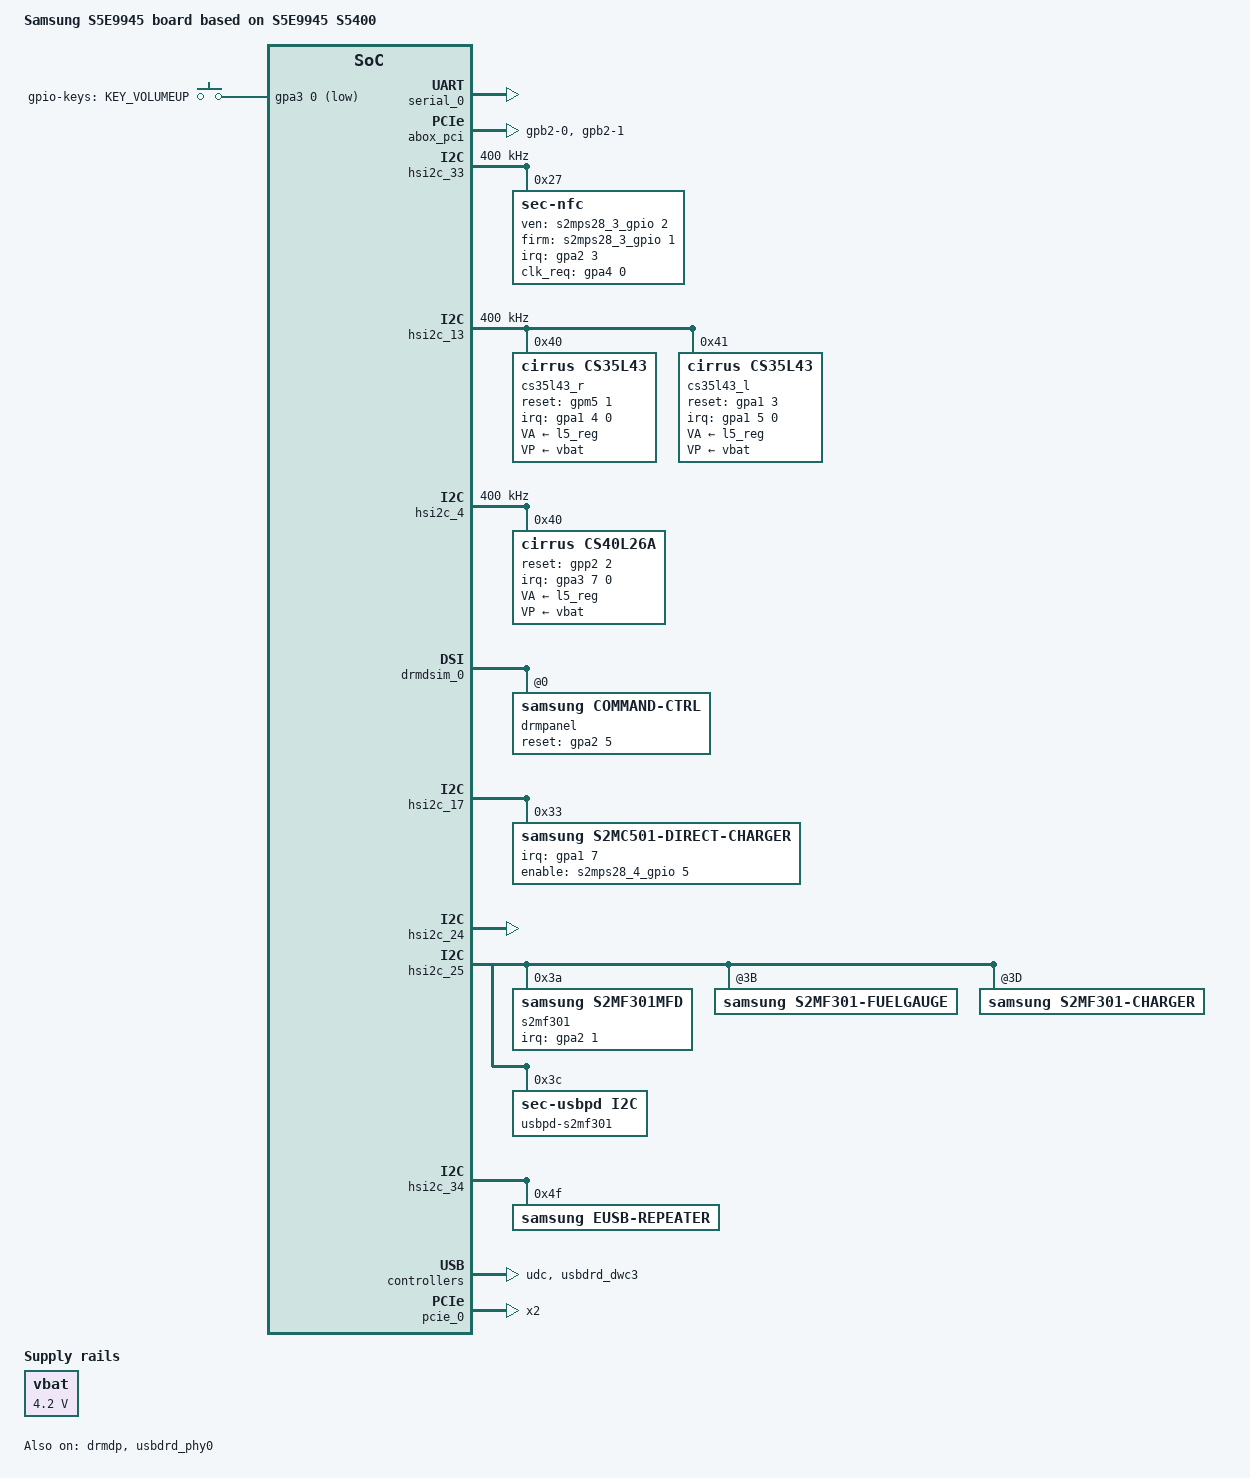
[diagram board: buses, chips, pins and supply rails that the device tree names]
/*
 * SAMSUNG S5E9945 SoC device tree source
 *
 * Copyright (c) 2023 Samsung Electronics Co., Ltd.
 *             http://www.samsung.com
 *
 * SAMSUNG S5E9945 SoC device nodes are listed in this file.
 * EXYNOS based board files can include this file and provide
 * values for board specfic bindings.
 *
 * This program is free software; you can redistribute it and/or modify
 * it under the terms of the GNU General Public License version 2 as
 * published by the Free Software Foundation.
 */

/dts-v1/;
/plugin/;
//#include <dt-bindings/clock/s5e9945.h>
#include <dt-bindings/interrupt-controller/s5e9945.h>
#include <dt-bindings/gpio/gpio.h>
#include "battery_data_erd9945_common_s2mf301.dtsi"
#include <dt-bindings/pci/pci.h>
#include "camera/s5e9945-erd9945-camera.dtsi"
#include "erd9945-pmic.dtsi"
#include "erd9945-etc-pmic.dtsi"
#include "s5e9945-erd9945-cp-s5400-sit.dtsi"
#include "s5e9945-erd9945-gnss-s5400.dtsi"

#define BOARD_ID	0x0

/ {
	compatible = "samsung,armv9", "samsung,s5e9945";
	board_id = <BOARD_ID>;
	board_rev = <0x0>;

	fragment@model {
		target-path = "/";
		__overlay__ {
			#address-cells = <2>;
			#size-cells = <1>;

			model = "Samsung S5E9945 board based on S5E9945 S5400";

			gpio_keys {
				status = "okay";
				compatible = "gpio-keys";
				pinctrl-names = "default";
				pinctrl-0 = <&key_volup>;

				button@3 {
					label = "gpio-keys: KEY_VOLUMEUP";
					linux,code = <115>;
					gpios = <&gpa3 0 0xf>;
				};
			};

			vbat: vbat {
				compatible = "regulator-fixed";
				regulator-name = "VBAT";
				regulator-min-microvolt = <4200000>;
				regulator-max-microvolt = <4200000>;
				regulator-boot-on;
			};

			dummy_audio_codec: audio-codec-dummy {
				compatible = "snd-soc-dummy";
				#sound-dai-cells = <0>;
			};

			dummy_audio_cpu: audio-cpu-dummy {
				compatible = "samsung,dummy-cpu";
				#sound-dai-cells = <0>;
			};

			sound {
				compatible = "samsung,exynos-sound";

				/* clock-names = "xclkout"; */
				/* clocks = <&clock OSC_AUD>; */

				MICBIAS1-supply = <&l7_reg>;
				MICBIAS2-supply = <&l7_reg>;
				MICBIAS3-supply = <&l7_reg>;

				/* Trick for probe order */
				dmas = <&dp_dma0>;

				samsung,routing =
					"DMIC1", "MICBIAS1",
					"DMIC2", "MICBIAS2",
					"DMIC3", "MICBIAS3",
					"RECEIVER", "Left SPK",
					"SPEAKER", "Right SPK",
					"VOUTPUT", "ABOX UAIF1 Playback",
					"ABOX UAIF1 Capture", "VINPUT1",
					"BLUETOOTH SPK", "ABOX UAIF2 Playback",
					"ABOX UAIF2 Capture", "BLUETOOTH MIC",
					"USB SPK", "ABOX USB Playback",
					"ABOX USB Capture", "USB MIC",
					"FWD SPK", "ABOX FWD Playback",
					"ABOX FWD Capture", "FWD MIC",
					"VTS Virtual Output", "VTS Virtual Output Mux",
					"PAD DPDM", "DMIC1",
					"PAD DPDM", "DMIC2",
					"PAD DPDM", "DMIC3",
					"PAD DPDM", "DMIC4";

				samsung,codec = <&cs35l43_l &cs35l43_r>;
				samsung,prefix = "Left", "Right";
				samsung,aux = <&abox_effect &abox_tplg>;

				rdma0 {
					cpu {
						sound-dai = <&abox_rdma_0 0>;
					};
					platform {
						sound-dai = <&abox_rdma_0 0>;
					};
				};
				rdma1 {
					cpu {
						sound-dai = <&abox_rdma_1 0>;
					};
					platform {
						sound-dai = <&abox_rdma_1 0>;
					};
				};
				rdma2 {
					cpu {
						sound-dai = <&abox_rdma_2 0>;
					};
					platform {
						sound-dai = <&abox_rdma_2 0>;
					};
				};
				rdma3 {
					cpu {
						sound-dai = <&abox_rdma_3 0>;
					};
					platform {
						sound-dai = <&abox_rdma_3 0>;
					};
				};
				rdma4 {
					cpu {
						sound-dai = <&abox_rdma_4 0>;
					};
					platform {
						sound-dai = <&abox_rdma_4 0>;
					};
				};
				rdma5 {
					cpu {
						sound-dai = <&abox_rdma_5 0>;
					};
					platform {
						sound-dai = <&abox_rdma_5 0>;
					};
				};
				rdma6 {
					cpu {
						sound-dai = <&abox_rdma_6 0>;
					};
					platform {
						sound-dai = <&abox_rdma_6 0>;
					};
				};
				rdma7 {
					cpu {
						sound-dai = <&abox_rdma_7 0>;
					};
					platform {
						sound-dai = <&abox_rdma_7 0>;
					};
				};
				rdma8 {
					cpu {
						sound-dai = <&abox_rdma_8 0>;
					};
					platform {
						sound-dai = <&abox_rdma_8 0>;
					};
				};
				rdma9 {
					cpu {
						sound-dai = <&abox_rdma_9 0>;
					};
					platform {
						sound-dai = <&abox_rdma_9 0>;
					};
				};
				rdma10 {
					cpu {
						sound-dai = <&abox_rdma_10 0>;
					};
					platform {
						sound-dai = <&abox_rdma_10 0>;
					};
				};
				rdma11 {
					cpu {
						sound-dai = <&abox_rdma_11 0>;
					};
					platform {
						sound-dai = <&abox_rdma_11 0>;
					};
				};
				rdma12 {
					cpu {
						sound-dai = <&abox_rdma_12 0>;
					};
					platform {
						sound-dai = <&abox_rdma_12 0>;
					};
				};
				rdma13 {
					cpu {
						sound-dai = <&abox_rdma_13 0>;
					};
					platform {
						sound-dai = <&abox_rdma_13 0>;
					};
				};
				rdma14 {
					cpu {
						sound-dai = <&abox_rdma_14 0>;
					};
					platform {
						sound-dai = <&abox_rdma_14 0>;
					};
				};
				rdma15 {
					cpu {
						sound-dai = <&abox_rdma_15 0>;
					};
					platform {
						sound-dai = <&abox_rdma_15 0>;
					};
				};
				wdma0 {
					cpu {
						sound-dai = <&abox_wdma_0 0>;
					};
					platform {
						sound-dai = <&abox_wdma_0 0>;
					};
				};
				wdma1 {
					cpu {
						sound-dai = <&abox_wdma_1 0>;
					};
					platform {
						sound-dai = <&abox_wdma_1 0>;
					};
				};
				wdma2 {
					cpu {
						sound-dai = <&abox_wdma_2 0>;
					};
					platform {
						sound-dai = <&abox_wdma_2 0>;
					};
				};
				wdma3 {
					cpu {
						sound-dai = <&abox_wdma_3 0>;
					};
					platform {
						sound-dai = <&abox_wdma_3 0>;
					};
				};
				wdma4 {
					cpu {
						sound-dai = <&abox_wdma_4 0>;
					};
					platform {
						sound-dai = <&abox_wdma_4 0>;
					};
				};
				wdma5 {
					cpu {
						sound-dai = <&abox_wdma_5 0>;
					};
					platform {
						sound-dai = <&abox_wdma_5 0>;
					};
				};
				wdma6 {
					cpu {
						sound-dai = <&abox_wdma_6 0>;
					};
					platform {
						sound-dai = <&abox_wdma_6 0>;
					};
				};
				wdma7 {
					cpu {
						sound-dai = <&abox_wdma_7 0>;
					};
					platform {
						sound-dai = <&abox_wdma_7 0>;
					};
				};
				wdma8 {
					cpu {
						sound-dai = <&abox_wdma_8 0>;
					};
					platform {
						sound-dai = <&abox_wdma_8 0>;
					};
				};
				wdma9 {
					cpu {
						sound-dai = <&abox_wdma_9 0>;
					};
					platform {
						sound-dai = <&abox_wdma_9 0>;
					};
				};
				wdma10 {
					cpu {
						sound-dai = <&abox_wdma_10 0>;
					};
					platform {
						sound-dai = <&abox_wdma_10 0>;
					};
				};
				wdma11 {
					cpu {
						sound-dai = <&abox_wdma_11 0>;
					};
					platform {
						sound-dai = <&abox_wdma_11 0>;
					};
				};
				vts0 {
					cpu {
						sound-dai = <&vts 0>;
					};
					platform {
						sound-dai = <&vts_dma0>;
					};
				};
				vts1 {
					cpu {
						sound-dai = <&vts 1>;
					};
					platform {
						sound-dai = <&vts_dma1>;
					};
				};
				vts2 {
					cpu {
						sound-dai = <&vts 2>;
					};
					platform {
						sound-dai = <&vts_dma2>;
					};
				};
				dp0_audio {
					cpu {
						sound-dai = <&displayport_adma 0>;
					};
					platform {
						sound-dai = <&dp_dma0>;
					};
				};

				dual0 {
					cpu {
						sound-dai = <&abox_dual_0>;
					};
					platform {
						sound-dai = <&abox_dual_0>;
					};
				};
				dual1 {
					cpu {
						sound-dai = <&abox_dual_1>;
					};
					platform {
						sound-dai = <&abox_dual_1>;
					};
				};
				dual2 {
					cpu {
						sound-dai = <&abox_dual_2>;
					};
					platform {
						sound-dai = <&abox_dual_2>;
					};
				};
				dual3 {
					cpu {
						sound-dai = <&abox_dual_3>;
					};
					platform {
						sound-dai = <&abox_dual_3>;
					};
				};
				dual4 {
					cpu {
						sound-dai = <&abox_dual_4>;
					};
					platform {
						sound-dai = <&abox_dual_4>;
					};
				};
				dual5 {
					cpu {
						sound-dai = <&abox_dual_5>;
					};
					platform {
						sound-dai = <&abox_dual_5>;
					};
				};
				dual6 {
					cpu {
						sound-dai = <&abox_dual_6>;
					};
					platform {
						sound-dai = <&abox_dual_6>;
					};
				};
				dual7 {
					cpu {
						sound-dai = <&abox_dual_7>;
					};
					platform {
						sound-dai = <&abox_dual_7>;
					};
				};
				dual8 {
					cpu {
						sound-dai = <&abox_dual_8>;
					};
					platform {
						sound-dai = <&abox_dual_8>;
					};
				};
				dual9 {
					cpu {
						sound-dai = <&abox_dual_9>;
					};
					platform {
						sound-dai = <&abox_dual_9>;
					};
				};
				dual10 {
					cpu {
						sound-dai = <&abox_dual_10>;
					};
					platform {
						sound-dai = <&abox_dual_10>;
					};
				};
				dual11 {
					cpu {
						sound-dai = <&abox_dual_11>;
					};
					platform {
						sound-dai = <&abox_dual_11>;
					};
				};
				ddma0 {
					cpu {
						sound-dai = <&abox_ddma_0>;
					};
					platform {
						sound-dai = <&abox_ddma_0>;
					};
				};
				ddma1 {
					cpu {
						sound-dai = <&abox_ddma_1>;
					};
					platform {
						sound-dai = <&abox_ddma_1>;
					};
				};
				ddma2 {
					cpu {
						sound-dai = <&abox_ddma_2>;
					};
					platform {
						sound-dai = <&abox_ddma_2>;
					};
				};
				ddma3 {
					cpu {
						sound-dai = <&abox_ddma_3>;
					};
					platform {
						sound-dai = <&abox_ddma_3>;
					};
				};
				ddma4 {
					cpu {
						sound-dai = <&abox_ddma_4>;
					};
					platform {
						sound-dai = <&abox_ddma_4>;
					};
				};
				ddma5 {
					cpu {
						sound-dai = <&abox_ddma_5>;
					};
					platform {
						sound-dai = <&abox_ddma_5>;
					};
				};
				uaif0 {
					format = "i2s";
					cpu {
						sound-dai = <&abox_uaif_0>;
					};
					codec {
						sound-dai = <&cs40l26a 0>;
					};
				};
				uaif1 {
					format = "i2s";
					cpu {
						sound-dai = <&abox_uaif_1>;
					};
				};
				uaif2 {
					format = "i2s";
					cpu {
						sound-dai = <&abox_uaif_2>;
					};
				};
				uaif3 {
					format = "dsp_a";
					cpu {
						sound-dai = <&abox_uaif_3>;
					};
					codec {
						sound-dai = <&cs35l43_l 0 &cs35l43_r 0>;
					};
				};
				uaif4 {
					format = "dsp_a";
					cpu {
						sound-dai = <&abox_uaif_4>;
					};
				};
				uaif5 {
					format = "dsp_a";
					cpu {
						sound-dai = <&abox_uaif_5>;
					};
				};
				uaif6 {
					format = "dsp_a";
					bitclock-master;
					bitclock-inversion;
					frame-master;

					cpu {
						sound-dai = <&abox_uaif_6>;
					};
					codec {
						sound-dai = <&vts_s_lif 0>;
					};
				};
				dsif0 {
					format = "pdm";
					cpu {
						sound-dai = <&abox_dsif>;
					};
				};
				udma_rd0 {
					cpu {
						sound-dai = <&abox_udma_rd_0>;
					};
				};
				udma_wr0 {
					cpu {
						sound-dai = <&abox_udma_wr_0>;
					};
				};
				udma_wr_dual0 {
					cpu {
						sound-dai = <&abox_udma_wr_dual_0>;
					};
				};
				udma_wr_dbg0 {
					cpu {
						sound-dai = <&abox_udma_wr_debug_0>;
					};
				};
				rdma0_be {
					cpu {
						sound-dai = <&abox_rdma_0 1>;
					};
					platform {
						sound-dai = <&abox_rdma_0 1>;
					};
				};
				rdma1_be {
					cpu {
						sound-dai = <&abox_rdma_1 1>;
					};
					platform {
						sound-dai = <&abox_rdma_1 1>;
					};
				};
				rdma2_be {
					cpu {
						sound-dai = <&abox_rdma_2 1>;
					};
					platform {
						sound-dai = <&abox_rdma_2 1>;
					};
				};
				rdma3_be {
					cpu {
						sound-dai = <&abox_rdma_3 1>;
					};
					platform {
						sound-dai = <&abox_rdma_3 1>;
					};
				};
				rdma4_be {
					cpu {
						sound-dai = <&abox_rdma_4 1>;
					};
					platform {
						sound-dai = <&abox_rdma_4 1>;
					};
				};
				rdma5_be {
					cpu {
						sound-dai = <&abox_rdma_5 1>;
					};
					platform {
						sound-dai = <&abox_rdma_5 1>;
					};
				};
				rdma6_be {
					cpu {
						sound-dai = <&abox_rdma_6 1>;
					};
					platform {
						sound-dai = <&abox_rdma_6 1>;
					};
				};
				rdma7_be {
					cpu {
						sound-dai = <&abox_rdma_7 1>;
					};
					platform {
						sound-dai = <&abox_rdma_7 1>;
					};
				};
				rdma8_be {
					cpu {
						sound-dai = <&abox_rdma_8 1>;
					};
					platform {
						sound-dai = <&abox_rdma_8 1>;
					};
				};
				rdma9_be {
					cpu {
						sound-dai = <&abox_rdma_9 1>;
					};
					platform {
						sound-dai = <&abox_rdma_9 1>;
					};
				};
				rdma10_be {
					cpu {
						sound-dai = <&abox_rdma_10 1>;
					};
					platform {
						sound-dai = <&abox_rdma_10 1>;
					};
				};
				rdma11_be {
					cpu {
						sound-dai = <&abox_rdma_11 1>;
					};
					platform {
						sound-dai = <&abox_rdma_11 1>;
					};
				};
				rdma12_be {
					cpu {
						sound-dai = <&abox_rdma_12 1>;
					};
					platform {
						sound-dai = <&abox_rdma_12 1>;
					};
				};
				rdma13_be {
					cpu {
						sound-dai = <&abox_rdma_13 1>;
					};
					platform {
						sound-dai = <&abox_rdma_13 1>;
					};
				};
				rdma14_be {
					cpu {
						sound-dai = <&abox_rdma_14 1>;
					};
					platform {
						sound-dai = <&abox_rdma_14 1>;
					};
				};
				rdma15_be {
					cpu {
						sound-dai = <&abox_rdma_15 1>;
					};
					platform {
						sound-dai = <&abox_rdma_15 1>;
					};
				};
				wdma0_be {
					cpu {
						sound-dai = <&abox_wdma_0 1>;
					};
					platform {
						sound-dai = <&abox_wdma_0 1>;
					};
				};
				wdma1_be {
					cpu {
						sound-dai = <&abox_wdma_1 1>;
					};
					platform {
						sound-dai = <&abox_wdma_1 1>;
					};
				};
				wdma2_be {
					cpu {
						sound-dai = <&abox_wdma_2 1>;
					};
					platform {
						sound-dai = <&abox_wdma_2 1>;
					};
				};
				wdma3_be {
					cpu {
						sound-dai = <&abox_wdma_3 1>;
					};
					platform {
						sound-dai = <&abox_wdma_3 1>;
					};
				};
				wdma4_be {
					cpu {
						sound-dai = <&abox_wdma_4 1>;
					};
					platform {
						sound-dai = <&abox_wdma_4 1>;
					};
				};
				wdma5_be {
					cpu {
						sound-dai = <&abox_wdma_5 1>;
					};
					platform {
						sound-dai = <&abox_wdma_5 1>;
					};
				};
				wdma6_be {
					cpu {
						sound-dai = <&abox_wdma_6 1>;
					};
					platform {
						sound-dai = <&abox_wdma_6 1>;
					};
				};
				wdma7_be {
					cpu {
						sound-dai = <&abox_wdma_7 1>;
					};
					platform {
						sound-dai = <&abox_wdma_7 1>;
					};
				};
				wdma8_be {
					cpu {
						sound-dai = <&abox_wdma_8 1>;
					};
					platform {
						sound-dai = <&abox_wdma_8 1>;
					};
				};
				wdma9_be {
					cpu {
						sound-dai = <&abox_wdma_9 1>;
					};
					platform {
						sound-dai = <&abox_wdma_9 1>;
					};
				};
				wdma10_be {
					cpu {
						sound-dai = <&abox_wdma_10 1>;
					};
					platform {
						sound-dai = <&abox_wdma_10 1>;
					};
				};
				wdma11_be {
					cpu {
						sound-dai = <&abox_wdma_11 1>;
					};
					platform {
						sound-dai = <&abox_wdma_11 1>;
					};
				};
				usb {
					cpu {
						sound-dai = <&abox 0>;
					};
				};
				fwd {
					cpu {
						sound-dai = <&abox 1>;
					};
				};
			}; /* end of sound */

			eusb_repeater_tune:hs_tune {
				status = "disabled";
				repeater_tune_cnt = <5>;
				/* 0xffffffff means using default value */
				/* tune value - reg value shift mask*/
				repeater_tune1 {
					tune_name = "tx_amp";
					tune_value = <0x08 0x3 0x0 0x7>;
				};

				repeater_tune2 {
					tune_name = "tx_de_emp";
					tune_value = <0x07 0x3 0x0 0x7>;
				};

				repeater_tune3 {
					tune_name = "tx_de_width";
					tune_value = <0x07 0x0 0x4 0x3>;
				};

				repeater_tune4 {
					tune_name = "rx_squelch";
					tune_value = <0x06 0x3 0x4 0x7>;
				};

				repeater_tune5 {
					tune_name = "hs_discon_th";
					tune_value = <0x0A 0x1 0x0 0x3>;
				};
			};

			usb_ss_tune:ss_tune {
				status = "disabled";
				ss_tune_cnt = <13>;
				/* value = <device host> */
				/* 0xffffffff means using default value */
				ss_tune1 {
					tune_name = "tx_eq_pre_g1";
					tune_value = <0xffffffff 0xffffffff>;
				};

				ss_tune2 {
					tune_name = "tx_eq_pre_g2";
					tune_value = <0xffffffff 0xffffffff>;
				};

				ss_tune3 {
					tune_name = "tx_eq_post_g1";
					tune_value = <0xffffffff 0xffffffff>;
				};

				ss_tune4 {
					tune_name = "tx_eq_post_g2";
					tune_value = <0xffffffff 0xffffffff>;
				};

				ss_tune5 {
					tune_name = "tx_eq_main_g1";
					tune_value = <0xffffffff 0xffffffff>;
				};

				ss_tune6 {
					tune_name = "tx_eq_main_g2";
					tune_value = <0xffffffff 0xffffffff>;
				};

				ss_tune7 {
					tune_name = "tx_vswing_lvl";
					tune_value = <0xffffffff 0xffffffff>;
				};

				ss_tune8 {
					tune_name = "rx_eq_att_lvl";
					tune_value = <0xffffffff 0xffffffff>;
				};

				ss_tune9 {
					tune_name = "rx_eq_afe_gain";
					tune_value = <0xffffffff 0xffffffff>;
				};

				ss_tune10 {
					tune_name = "rx_eq_ctle_boost";
					tune_value = <0xffffffff 0xffffffff>;
				};

				ss_tune11 {
					tune_name = "rx_term_ctrl";
					tune_value = <0xffffffff 0xffffffff>;
				};

				ss_tune12 {
					tune_name = "tx_term_ctrl";
					tune_value = <0xffffffff 0xffffffff>;
				};

				ss_tune13 {
					tune_name = "tx_rxdet_time";
					tune_value = <0xffffffff 0xffffffff>;
				};
			};

			usb_notifier {
				compatible = "samsung,usb-notifier";
				udc = <&udc>;
				status = "okay";
			};
		};

	};
};

&chosen {
        bootargs_ext = "panic_on_warn=1";
};

&serial_0 {
	status = "okay";
};

&pinctrl_7 {
	aud_i2s0_bus:aud-i2s0-bus {
		samsung,pins = "gpb0-0", "gpb0-1", "gpb0-2";
		samsung,pin-function = <2>;
		samsung,pin-pud = <0>;
	};

	aud_i2s0_idle:aud-i2s0-idle {
		samsung,pins = "gpb0-0", "gpb0-1", "gpb0-2";
		samsung,pin-function = <0>;
		samsung,pin-pud = <1>;
	};

	aud_i2s2_bus:aud-i2s2-bus {
		samsung,pins = "gpb2-0", "gpb2-1", "gpb2-2", "gpb2-3";
		samsung,pin-function = <2>;
		samsung,pin-pud = <0>;
	};

	aud_i2s2_idle:aud-i2s2-idle {
		samsung,pins = "gpb2-0", "gpb2-1", "gpb2-2", "gpb2-3";
		samsung,pin-function = <0>;
		samsung,pin-pud = <1>;
	};

	aud_i2s2_pci: aud-i2s2-pci {
		samsung,pins = "gpb2-0", "gpb2-1";
		samsung,pin-function = <3>;
		samsung,pin-pud = <0>;
	};
};

&pinctrl_9 {
	aud_i2s3_bus:aud-i2s3-bus {
		samsung,pins = "gpb5-0", "gpb5-1", "gpb5-2", "gpb5-3";
		samsung,pin-function = <2>;
		samsung,pin-pud = <0>;
	};

	aud_i2s3_idle:aud-i2s3-idle {
		samsung,pins = "gpb5-0", "gpb5-1", "gpb5-2", "gpb5-3";
		samsung,pin-function = <0>;
		samsung,pin-pud = <1>;
	};
};

&reserved_memory {
	#address-cells = <2>;
	#size-cells = <1>;
	abox_pci_rmem: abox-pci-rmem {
		compatible = "exynos,abox_pci_rmem";
		reg = <0x0 0xedc00000 0x10000>;
	};
};

&abox_pci {
	status = "okay";
	pinctrl-names = "pci_on", "sleep";
	memory-region = <&abox_pci_rmem>;
	pinctrl-0 = <&aud_i2s2_pci>;
	pinctrl-1 = <&aud_i2s2_idle>;
};

&abox_uaif_0 {
	pinctrl-names = "active", "idle";
	pinctrl-0 = <&aud_i2s0_bus>;
	pinctrl-1 = <&aud_i2s0_idle>;
};

&abox_uaif_3 {
	pinctrl-names = "active", "idle";
	pinctrl-0 = <&aud_i2s3_bus>;
	pinctrl-1 = <&aud_i2s3_idle>;
};

&pinctrl_1 {
	cs35l43_r_reset: cs35l43-r-reset {
		samsung,pins = "gpm5-1";
		samsung,pin-con-pdn = <3>;
		samsung,pin-pud-pdn = <0>;
	};
};

&pinctrl_0 {
	cs35l43_l_reset: cs35l43-l-reset {
		samsung,pins = "gpa1-3";
		samsung,pin-con-pdn = <3>;
		samsung,pin-pud-pdn = <0>;
	};
	cs35l43_r_int: cs35l43-r-int {
		samsung,pins = "gpa1-4";
		samsung,pin-pud = <0>;
	};
	cs35l43_l_int: cs35l43-l-int {
		samsung,pins = "gpa1-5";
		samsung,pin-pud = <0>;
	};
};


&hsi2c_33 {
	#address-cells = <1>;
	#size-cells = <0>;
	status = "okay";
	clock-frequency = <400000>;

	sec-nfc@27 {
		compatible = "sec-nfc";
		reg = <0x27>;

		sec-nfc,ven-gpio = <&s2mps28_3_gpio 2 0>;
		sec-nfc,firm-gpio = <&s2mps28_3_gpio 1 0>;
		sec-nfc,irq-gpio = <&gpa2 3 0>;
		sec-nfc,clk_req-gpio = <&gpa4 0 0>;
		sec-nfc,pmic-ldo = "vdd_ldo12";

		clock-names = "OSC_NFC";
		clkctrl-reg = <0x12863e64>;

		pinctrl-names = "default";
		pinctrl-0 = <&nfc_clkreq &nfc_read_irq &pinctrl_nfc_ven &pinctrl_nfc_firm>;
	};
};


&hsi2c_13 {
	#address-cells = <1>;
	#size-cells = <0>;
	status = "okay";
	clock-frequency = <400000>;
	cs35l43_r: cs35l43@40 {
		#sound-dai-cells = <1>;
		compatible = "cirrus,cs35l43";
		reg = <0x40>;
		interrupt-parent = <&gpa1>;
		interrupts = <4 0 0>;
		pinctrl-names = "default";
		pinctrl-0 = <&cs35l43_r_reset &cs35l43_r_int>;
		reset-gpios = <&gpm5 1 0>;
		VA-supply = <&l5_reg>;
		VP-supply = <&vbat>;

		cirrus,boost-peak-milliamp = <4500>;
		cirrus,boost-ind-nanohenry = <1000>;
		cirrus,boost-cap-microfarad = <15>;

		cirrus,dsp-noise-gate-enable;
		cirrus,dsp-noise-gate-delay = <0x2>;
		cirrus,dsp-noise-gate-threshold = <0x6>;

		cirrus,hw-noise-gate-select = <0x3F>;
		cirrus,hw-noise-gate-delay = <0x0>;
		cirrus,hw-noise-gate-threshold = <0x6>;

		cirrus,use-fsync-errata;

		cirrus,asp-sdout-hiz = <0x3>;

		cirrus,right-channel-amp;
		cirrus,mfd-suffix = "_r";

		cirrus,gpio-config2 {
			cirrus,gpio-src-select = <0x4>;
			cirrus,gpio-output-enable;
		};
	};

	cs35l43_l: cs35l43@41 {
		#sound-dai-cells = <1>;
		compatible = "cirrus,cs35l43";
		reg = <0x41>;
		interrupt-parent = <&gpa1>;
		interrupts = <5 0 0>;
		pinctrl-names = "default";
		pinctrl-0 = <&cs35l43_l_reset &cs35l43_l_int>;
		reset-gpios = <&gpa1 3 0>;
		VA-supply = <&l5_reg>;
		VP-supply = <&vbat>;

		cirrus,boost-peak-milliamp = <4500>;
		cirrus,boost-ind-nanohenry = <1000>;
		cirrus,boost-cap-microfarad = <15>;

		cirrus,dsp-noise-gate-enable;
		cirrus,dsp-noise-gate-delay = <0x2>;
		cirrus,dsp-noise-gate-threshold = <0x6>;

		cirrus,hw-noise-gate-select = <0x3F>;
		cirrus,hw-noise-gate-delay = <0x0>;
		cirrus,hw-noise-gate-threshold = <0x6>;

		cirrus,use-fsync-errata;

		cirrus,asp-sdout-hiz = <0x3>;

		cirrus,mfd-suffix = "";

		cirrus,gpio-config2 {
			cirrus,gpio-src-select = <0x4>;
			cirrus,gpio-output-enable;
		};
	};
};

&pinctrl_7 {
	cs40l26_reset: cs40l26-reset {
		samsung,pins = "gpp2-2";
		samsung,pin-con-pdn = <3>;
		samsung,pin-pud-pdn = <0>;
	};
};

&pinctrl_0 {
	cs40l26_int: cs40l26-int {
		samsung,pins = "gpa3-7";
		samsung,pin-pud = <0>;
	};
};

&hsi2c4_bus {
    samsung,pin-pud = <3>;
    samsung,pin-pud-pdn = <3>;
};

&hsi2c_4 {
	#address-cells = <1>;
	#size-cells = <0>;
	status = "okay";
	clock-frequency = <400000>;

	cs40l26a: cs40l26a@40 {
		#sound-dai-cells = <1>;
		compatible = "cirrus,cs40l26a";
		reg = <0x40>;
		interrupt-parent = <&gpa3>;
		interrupts = <7 0 0>;
		pinctrl-names = "default";
		pinctrl-0 = <&cs40l26_reset &cs40l26_int>;
		reset-gpios = <&gpp2 2 0>;
		VA-supply = <&l5_reg>;
		VP-supply = <&vbat>;

		cirrus,fw-defer;

		/* Trick for probe order with sound card */
		#dma-cells = <0>;
	};
};

&drmdsim_0 {
	#address-cells = <1>;
	#size-cells = <0>;
	drmpanel {
		   compatible = "samsung,command-ctrl";
		   /* reset, power */
		   reset-gpios = <&gpa2 5 GPIO_ACTIVE_HIGH>;
		   reg = <0>;
		   pinctrl-names = "default";
		   pinctrl-0 = <&ddi_rst>;
	};
};

&drmdp {
	/* GPIO, PMIC-external GPIO */
	status = "okay";
	/* below gpios are pmic gpio, plz modify after implementation */
	dp,aux_sw_oe = <&s2mps28_3_gpio 5 0>;
	dp,sbu_sw_sel = <&s2mps28_3_gpio 4 0>;
	/* Pamir ERD doesn't have USB direction gpio pin
	 * dp,usb_con_sel = <&xxx0 0 0>;
	 */
	pinctrl-names = "default";
};

&pinctrl_0 {
	attn_irq: attn-irq {
		samsung,pins = "gpa1-2";
		samsung,pin-function = <0xf>;
		samsung,pin-pud = <3>;
		samsung,pin-drv = <3>;
	};

	attn_input: attn-input {
		samsung,pins = "gpa1-2";
		samsung,pin-function = <0>;
		samsung,pin-pud = <1>;
	};

	nfc_clkreq: nfc-clkreq {
		samsung,pins ="gpa4-0";
		samsung,pin-function = <2>;
	};

	nfc_read_irq: nfc-read-irq {
		samsung,pins ="gpa2-3";
		samsung,pin-function = <0xf>;
	};

	key_volup: key-volup {
		samsung,pins = "gpa3-0";
		samsung,pin-function = <0xf>;
		samsung,pin-pud = <3>;
		samsung,pin-drv = <3>;
	};

	usbpd_irq: usbpd-irq {
		samsung,pins = "gpa0-0";
		samsung,pin-function = <0>;
		samsung,pin-pud = <2>;
		samsung,pin-drv = <0>;
	};

	if_pmic_irq: if-pmic-irq {
		samsung,pins = "gpa2-1";
		samsung,pin-function = <0>;
		samsung,pin-pud = <0>;
		samsung,pin-drv = <0>;
	};

	dc_irq: dc-irq {
		samsung,pins = "gpa1-7";
		samsung,pin-function = <0>;
		samsung,pin-pud = <0>;
		samsung,pin-drv = <0>;
	};
};

&hsi2c_17 {
	#address-cells = <1>;
	#size-cells = <0>;
	status = "okay";
	s2mc501-direct-charger@33 {
		compatible = "samsung,s2mc501-direct-charger";
		reg = <0x33>;
		pinctrl-names = "default";
		dc,direct_charger_name = "s2mc501-direct-charger";
		pinctrl-0 = <&dc_irq>;
		s2mc501,irq-gpio = <&gpa1 7 0>;
		s2mc501,enable-gpio = <&s2mps28_4_gpio 5 0>;
	};
};

&hsi2c_24 {
	#address-cells = <1>;
	#size-cells = <0>;
	status = "okay";
	samsung,reset-before-trans;
};

&hsi2c_25 {
	#address-cells = <1>;
	#size-cells = <0>;
	status = "okay";
	s2mf301@3A {
		compatible = "samsung,s2mf301mfd";
		reg = <0x3A>;
		pinctrl-names = "default";
		pinctrl-0 = <&if_pmic_irq>;
		s2mf301,irq-gpio = <&gpa2 1 0>;
		s2mf301,wakeup;
	};

	flash_led {
		status = "okay";
		default_current = <50>;
		max_current = <200>;
		default_timer = <0>;

		s2mf301-channel1 {
			id = <0>;
		};
	};

	s2mf301-fuelgauge@3B {
		compatible = "samsung,s2mf301-fuelgauge";
		pinctrl-names = "default";
		fuelgauge,fuel_alert_vol = <3400>;
		fuelgauge,fuel_alert_soc = <1>;
		fuelgauge,type_str = "SDI";
		fuelgauge,model_type = <1>;
	};

	s2mf301-charger@3D {
		compatible = "samsung,s2mf301-charger";
		pinctrl-names = "default";
		battery,charger_name = "s2mf301-charger";
		battery,chg_gpio_en = <0>;
		battery,chg_polarity_en = <0>;
		battery,chg_gpio_status = <0>;
		battery,chg_polarity_status = <0>;
		battery,chg_float_voltage = <4350>;
		battery,chg_recharge_vcell = <4250>;
		battery,chg_full_vcell = <4300>;
		battery,full_check_type = <2>;
		battery,full_check_type_2nd = <2>;
		battery,input_current_limit = <
			500 450 500 1200 500 1200 1200 1000 1000 1000
			1000 500 500 1200 1000 500 450>;
		battery,fast_charging_current =	<
			500 450 500 1200 500 1200 1200 1000 1000 1000
			1000 500 500 1200 1000 500 450>;
		battery,full_check_current_1st = <
			300 0 300 300 300 300 300 300 300 300
			300 300 300 300 300 300 0>;
		battery,full_check_current_2nd = <
			100 0 100 100 100 100 100 100 100 100
			100 100 100 100 100 100 0>;
	};

	usbpd-s2mf301@3C {
		compatible = "sec-usbpd,i2c";
		reg = <0x3C>;
		pinctrl-names = "default";
		pinctrl-0 = <&usbpd_irq>;
		usbpd,usbpd_int = <&gpa0 0 0>;

		pdic-manager {
			/* sink */
			pdic,max_power = <5000>;
			pdic_op_power = <2500>;
			pdic_max_voltage = <6000>;
			pdic_max_current = <2000>;
			pdic_min_current = <500>;

			pdic,giveback = <0>;
			pdic,usb_com_capable = <1>;
			pdic,no_usb_suspend = <1>;

			/* source */
			source,max_voltage = <5000>;
			source,min_voltage = <4000>;
			source,max_power = <2500>;

			/* sink cap */
			sink,capable_max_voltage = <5000>;
		};
	};
};

/* USB board DT start */
&hsi2c_34 {
	#address-cells = <1>;
	#size-cells = <0>;
	status = "okay";
	eusb-repeater@4F {
		compatible = "samsung,eusb-repeater";
		reg = <0x4F>;
		status = "okay";
		repeater_tune_param = <&eusb_repeater_tune>;
	};
};

&udc {
	status = "okay";
};

&usbdrd_dwc3 {
	status = "okay";
	maximum-speed = "super-speed-plus";
	usb_audio_offloading = <1>;
	abox = <&abox>;
	samsung,abox-gic = <&abox_gic>;
	xhci_use_uram_for_audio = <1>;

	vdd075_usb-supply = <&s5_l2_reg>;
	vdd12_usb-supply = <&s4_l4_reg>;
	vdd18_usb-supply = <&l7_reg>;
	vdd33_usb-supply = <&l11_reg>;
};

&usbdrd_phy0 {
	status = "okay";

	pinctrl-names = "default";

	ss_tune_param = <&usb_ss_tune>;
	low_power_call = <0>;

	vdd075_usb-supply = <&s5_l2_reg>;
	vdd12_usb-supply = <&s4_l4_reg>;
	vdd18_usb-supply = <&l7_reg>;
	vdd33_usb-supply = <&l11_reg>;
};
/* USB board DT end */

&pcie_0 {
	compatible = "exynos-pcie-rc,cp_ss";
	interrupts = <GIC_SPI INTREQ__PCIE_GEN4_2L_0_subsystem_int IRQ_TYPE_LEVEL_HIGH>,
		   <GIC_SPI INTREQ__PCIE_GEN4_2L_0_msi_recieved_from_EP_NUM_0 IRQ_TYPE_LEVEL_HIGH>,
		   <GIC_SPI INTREQ__PCIE_GEN4_2L_0_msi_recieved_from_EP_NUM_1 IRQ_TYPE_LEVEL_HIGH>,
		   <GIC_SPI INTREQ__PCIE_GEN4_2L_0_msi_recieved_from_EP_NUM_2 IRQ_TYPE_LEVEL_HIGH>,
		   <GIC_SPI INTREQ__PCIE_GEN4_2L_0_msi_recieved_from_EP_NUM_3 IRQ_TYPE_LEVEL_HIGH>,
		   <GIC_SPI INTREQ__PCIE_GEN4_2L_0_msi_recieved_from_EP_NUM_4 IRQ_TYPE_LEVEL_HIGH>,
		   <GIC_SPI INTREQ__PCIE_GEN4_2L_0_msi_recieved_from_EP_NUM_5 IRQ_TYPE_LEVEL_HIGH>,
		   <GIC_SPI INTREQ__PCIE_GEN4_2L_0_msi_recieved_from_EP_NUM_6 IRQ_TYPE_LEVEL_HIGH>,
		   <GIC_SPI INTREQ__PCIE_GEN4_2L_0_msi_recieved_from_EP_NUM_7 IRQ_TYPE_LEVEL_HIGH>;
	dma-coherent;
	status = "okay";
	use-sysmmu = "false";
	ip-ver = <0x994500>;
	use-ia = "false";
	ep-device-type = <EP_TYPE_SAMSUNG_MODEM>;
	max-link-speed = <LINK_SPEED_GEN3>;
	num-lanes = <2>;
};

&ufs {
	vcc-supply = <&l8_reg>;
	vccq-supply = <&s4_l5_reg>;
};

&ssp {
	vdd_se-supply = <&l15_reg>;
};

&exynos_pm {
	wake_lock = <1>;                /* 1: held wake_lock */
};
